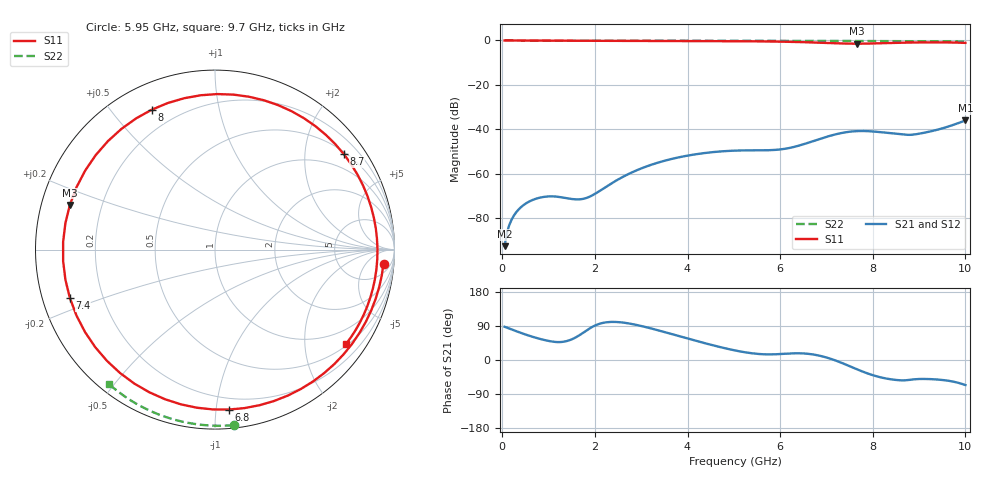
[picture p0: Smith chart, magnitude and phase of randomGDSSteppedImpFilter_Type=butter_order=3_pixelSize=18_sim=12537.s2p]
! freq	dB(S11)	phase(S11)	dB(S12)	phase(S12)
!  dB(S21)	phase(S21)	dB(S22)	phase(S22)
!S-par simulation data
#  GHz  S  DB  R 50
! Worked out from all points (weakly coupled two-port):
!   200 points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, 50 MHz to 10 GHz, reference 50 ohm
!   highest |S21| = -35.97 dB at 10 GHz (marker M1); lowest = -92.5 dB at 50 MHz (marker M2)
!   lowest |S11| = -1.5 dB at 7.65 GHz (marker M3), VSWR 12.00, Z = 4.26 + j7.47 ohm
!   |S11| at or under -10 dB: nowhere
!   |S22| runs from -0.4 to 0.0 dB; largest |S21 - S12| = 0
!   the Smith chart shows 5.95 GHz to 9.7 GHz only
!   S11 on the Smith chart (normalised r, x): 5.95 GHz: 11, -16; 6.8 GHz: 0.12, -1.08; 7.4 GHz: 0.08, -0.16; 8 GHz: 0.11, +0.64; 8.7 GHz: 0.55, +2.93; 9.7 GHz: 0.55, -3.02
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0.05  -0.00 -4.0  -92.48 87.7  -92.48 87.7  -0.00 -0.8
0.45  -0.05 -35.5  -74.15 69.4  -74.15 69.4  -0.01 -6.8
0.9  -0.08 -68.9  -70.31 53.0  -70.31 53.0  -0.02 -13.6
1.75  -0.13 -123.9  -71.19 72.2  -71.19 72.2  -0.03 -26.3
2.55  -0.15 -167.7  -61.92 99.5  -61.92 99.5  -0.05 -37.9
3.4  -0.19 149.3  -54.68 77.2  -54.68 77.2  -0.07 -50.0
4.3  -0.25 102.4  -50.80 46.7  -50.80 46.7  -0.09 -62.4
5.05  -0.32 58.6  -49.50 24.6  -49.50 24.6  -0.11 -72.4
5.55  -0.41 25.3  -49.39 15.8  -49.39 15.8  -0.13 -78.9
5.95  -0.52 -4.8  -49.10 15.4  -49.10 15.4  -0.14 -84.0
6.3  -0.66 -34.5  -47.86 17.6  -47.86 17.6  -0.16 -88.4
6.7  -0.90 -74.0  -45.34 14.8  -45.34 14.8  -0.18 -93.3
6.8  -0.97 -85.0  -44.65 12.6  -44.65 12.6  -0.19 -94.5
7.1  -1.20 -121.0  -42.73 2.8  -42.73 2.8  -0.20 -98.2
7.4  -1.39 -161.5  -41.32 -11.1  -41.32 -11.1  -0.22 -101.8
7.65  -1.45 162.9  -40.76 -24.1  -40.76 -24.1  -0.24 -104.7
8  -1.36 114.4  -40.91 -40.0  -40.91 -40.0  -0.26 -108.9
8.35  -1.15 71.8  -41.60 -50.2  -41.60 -50.2  -0.29 -112.9
8.7  -0.98 36.6  -42.35 -53.6  -42.35 -53.6  -0.32 -117.0
9.15  -0.87 0.1  -41.32 -50.1  -41.32 -50.1  -0.36 -122.1
9.7  -0.92 -35.7  -38.23 -56.2  -38.23 -56.2  -0.41 -128.4
10  -1.09 -53.0  -35.97 -66.2  -35.97 -66.2  -0.45 -131.8
